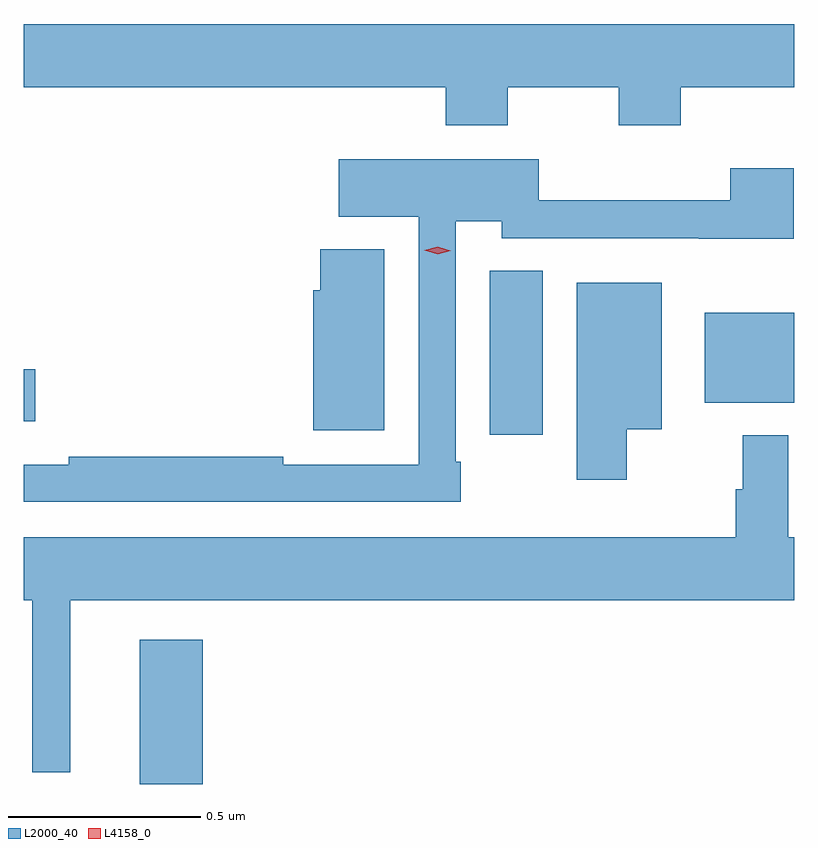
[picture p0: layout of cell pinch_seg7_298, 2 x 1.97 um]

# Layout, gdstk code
import gdstk
lib = gdstk.Library(unit=1e-6, precision=1e-09)
def R(c, l, rs):  # rectangles x0, y0, x1, y1
    for r in rs: c.add(gdstk.rectangle(r[:2], r[2:], *l))
def P(c, l, *ps):  # polygons
    for p in ps: c.add(gdstk.Polygon(p, *l))
L2000_40 = (2000, 40)
L4158_0 = (4158, 0)

pinch_seg7_298 = lib.new_cell('pinch_seg7_298')
R(pinch_seg7_298, L2000_40, [(516.986,1044.095,517.15,1044.469), (517.895,1045.002,518.032,1045.427), (516.685,1045.037,516.715,1045.172), (518.453,1045.085,518.685,1045.318)])
P(pinch_seg7_298, L2000_40, [(517.941,1045.904),(518.23,1045.904),(518.23,1045.805),(518.39,1045.805),(518.39,1045.904),(518.685,1045.904),(518.685,1046.068),(516.685,1046.068),(516.685,1045.904),(517.781,1045.904),(517.781,1045.805),(517.941,1045.805)],
  [(517.819,1044.931),(517.806,1044.931),(517.806,1045.556),(517.926,1045.556),(517.926,1045.512),(518.437,1045.512),(518.437,1045.511),(518.684,1045.511),(518.684,1045.693),(518.519,1045.693),(518.519,1045.61),(518.022,1045.61),(518.022,1045.717),(517.503,1045.717),(517.503,1045.568),(517.71,1045.568),(517.71,1044.924),(517.358,1044.924),(517.358,1044.944),(516.802,1044.944),(516.802,1044.924),(516.685,1044.924),(516.685,1044.828),(517.819,1044.828)],
  [(517.621,1045.483),(517.454,1045.483),(517.454,1045.377),(517.436,1045.377),(517.436,1045.013),(517.621,1045.013)],
  [(518.25,1045.016),(518.341,1045.016),(518.341,1045.396),(518.12,1045.396),(518.12,1044.885),(518.25,1044.885)],
  [(516.806,1044.572),(518.685,1044.572),(518.685,1044.736),(518.669,1044.736),(518.669,1045),(518.552,1045),(518.552,1044.86),(518.533,1044.86),(518.533,1044.736),(516.685,1044.736),(516.685,1044.572),(516.707,1044.572),(516.707,1044.126),(516.806,1044.126)])
P(pinch_seg7_298, L4158_0, [(517.759,1045.47),(517.724,1045.48),(517.724,1045.48),(517.724,1045.48),(517.759,1045.49),(517.793,1045.479),(517.794,1045.479),(517.793,1045.479)])

lib.write_gds('pinch_seg7_298.gds')
